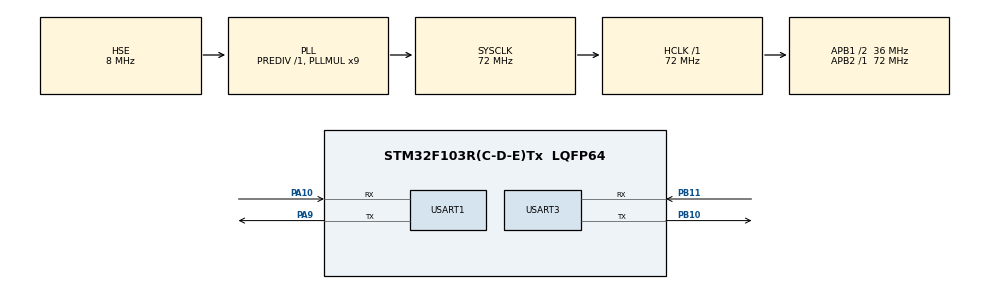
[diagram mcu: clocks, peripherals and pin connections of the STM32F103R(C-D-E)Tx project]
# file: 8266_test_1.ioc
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Dma.Request0=USART1_RX
Dma.Request1=USART1_TX
Dma.Request2=USART3_RX
Dma.Request3=USART3_TX
Dma.USART1_RX.0.Direction=DMA_PERIPH_TO_MEMORY
Dma.USART1_RX.0.Instance=DMA1_Channel5
Dma.USART1_RX.0.MemDataAlignment=DMA_MDATAALIGN_BYTE
Dma.USART1_RX.0.MemInc=DMA_MINC_ENABLE
Dma.USART1_RX.0.Mode=DMA_NORMAL
Dma.USART1_RX.0.PeriphDataAlignment=DMA_PDATAALIGN_BYTE
Dma.USART1_RX.0.PeriphInc=DMA_PINC_DISABLE
Dma.USART1_RX.0.Priority=DMA_PRIORITY_LOW
Dma.USART1_TX.1.Direction=DMA_MEMORY_TO_PERIPH
Dma.USART1_TX.1.Instance=DMA1_Channel4
Dma.USART1_TX.1.MemDataAlignment=DMA_MDATAALIGN_BYTE
Dma.USART1_TX.1.MemInc=DMA_MINC_ENABLE
Dma.USART1_TX.1.Mode=DMA_NORMAL
Dma.USART1_TX.1.PeriphDataAlignment=DMA_PDATAALIGN_BYTE
Dma.USART1_TX.1.PeriphInc=DMA_PINC_DISABLE
Dma.USART1_TX.1.Priority=DMA_PRIORITY_LOW
Dma.USART3_RX.2.Direction=DMA_PERIPH_TO_MEMORY
Dma.USART3_RX.2.Instance=DMA1_Channel3
Dma.USART3_RX.2.MemDataAlignment=DMA_MDATAALIGN_BYTE
Dma.USART3_RX.2.MemInc=DMA_MINC_ENABLE
Dma.USART3_RX.2.Mode=DMA_NORMAL
Dma.USART3_RX.2.PeriphDataAlignment=DMA_PDATAALIGN_BYTE
Dma.USART3_RX.2.PeriphInc=DMA_PINC_DISABLE
Dma.USART3_RX.2.Priority=DMA_PRIORITY_MEDIUM
Dma.USART3_TX.3.Direction=DMA_MEMORY_TO_PERIPH
Dma.USART3_TX.3.Instance=DMA1_Channel2
Dma.USART3_TX.3.MemDataAlignment=DMA_MDATAALIGN_BYTE
Dma.USART3_TX.3.MemInc=DMA_MINC_ENABLE
Dma.USART3_TX.3.Mode=DMA_NORMAL
Dma.USART3_TX.3.PeriphDataAlignment=DMA_PDATAALIGN_BYTE
Dma.USART3_TX.3.PeriphInc=DMA_PINC_DISABLE
Dma.USART3_TX.3.Priority=DMA_PRIORITY_HIGH
Mcu.Family=STM32F1
Mcu.Name=STM32F103R(C-D-E)Tx
Mcu.Package=LQFP64
NVIC.DMA1_Channel2_IRQn=true\:0\:0\:false\:false\:true\:false\:true\:true
NVIC.DMA1_Channel3_IRQn=true\:9\:0\:true\:false\:true\:false\:true\:true
NVIC.DMA1_Channel4_IRQn=true\:0\:0\:false\:false\:true\:false\:true\:true
NVIC.DMA1_Channel5_IRQn=true\:10\:0\:true\:false\:true\:false\:true\:true
NVIC.PriorityGroup=NVIC_PRIORITYGROUP_4
NVIC.USART1_IRQn=true\:0\:0\:false\:false\:true\:true\:true\:true
NVIC.USART3_IRQn=true\:0\:0\:true\:false\:true\:true\:true\:true
PA10.Mode=Asynchronous
PA10.Signal=USART1_RX
PA9.Mode=Asynchronous
PA9.Signal=USART1_TX
PB10.Mode=Asynchronous
PB10.Signal=USART3_TX
PB11.Mode=Asynchronous
PB11.Signal=USART3_RX
PC14-OSC32_IN.Mode=LSE-External-Oscillator
PC14-OSC32_IN.Signal=RCC_OSC32_IN
PC15-OSC32_OUT.Mode=LSE-External-Oscillator
PC15-OSC32_OUT.Signal=RCC_OSC32_OUT
PD0-OSC_IN.Mode=HSE-External-Oscillator
PD0-OSC_IN.Signal=RCC_OSC_IN
PD1-OSC_OUT.Mode=HSE-External-Oscillator
PD1-OSC_OUT.Signal=RCC_OSC_OUT
ProjectManager.HeapSize=0x200
ProjectManager.StackSize=0x400
ProjectManager.TargetToolchain=MDK-ARM V5.32
RCC.AHBFreq_Value=72000000
RCC.APB1CLKDivider=RCC_HCLK_DIV2
RCC.APB1Freq_Value=36000000
RCC.APB1TimFreq_Value=72000000
RCC.APB2Freq_Value=72000000
RCC.APB2TimFreq_Value=72000000
RCC.HCLKFreq_Value=72000000
RCC.PLLMUL=RCC_PLL_MUL9
RCC.PLLSourceVirtual=RCC_PLLSOURCE_HSE
RCC.SYSCLKFreq_VALUE=72000000
RCC.SYSCLKSource=RCC_SYSCLKSOURCE_PLLCLK
RCC.USBFreq_Value=72000000
USART1.VirtualMode=VM_ASYNC
USART3.VirtualMode=VM_ASYNC
VP_SYS_VS_ND.Mode=No_Debug
board=custom

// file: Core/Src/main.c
/* USER CODE BEGIN Header */
/**
  ******************************************************************************
  * @file           : main.c
  * @brief          : Main program body
  ******************************************************************************
  * @attention
  *
  * Copyright (c) 2023 STMicroelectronics.
  * All rights reserved.
  *
  * This software is licensed under terms that can be found in the LICENSE file
  * in the root directory of this software component.
  * If no LICENSE file comes with this software, it is provided AS-IS.
  *
  ******************************************************************************
  */
/* USER CODE END Header */
#include "main.h"
#include "dma.h"
#include "usart.h"
#include "gpio.h"

/* USER CODE BEGIN Includes */
#include "string.h"
#include "stdio.h"
#include "ESP8266.h"
#include "OutIn.h"
/* USER CODE END Includes */

/* USER CODE BEGIN PV */
 uint8_t PCRxbuf[LENGTH];

/* USER CODE END PV */

void SystemClock_Config(void);

/* USER CODE BEGIN 0 */
void HAL_Delay(uint32_t Delay){
	uint32_t t=Delay*3127;
	while(t--);
}

/* USER CODE END 0 */

int main(void)
{

  /* MCU Configuration--------------------------------------------------------*/

  /* Reset of all peripherals, Initializes the Flash interface and the Systick. */
  HAL_Init();

  /* Configure the system clock */
  SystemClock_Config();

  /* Initialize all configured peripherals */
  MX_GPIO_Init();
  MX_DMA_Init();
  MX_USART1_UART_Init();
  MX_USART3_UART_Init();
  /* USER CODE BEGIN 2 */
  HAL_UARTEx_ReceiveToIdle_DMA(&huart1,PCRxbuf,sizeof(PCRxbuf));
  ESP8266_Init(&huart3);
  /* USER CODE END 2 */
	linkWifi("Lzl","L123456@");
	StartCipsend("192.168.21.243","1234");
  /* Infinite loop */
  while (1)
  {

  }
}

void SystemClock_Config(void)
{
  RCC_OscInitTypeDef RCC_OscInitStruct = {0};
  RCC_ClkInitTypeDef RCC_ClkInitStruct = {0};

  /** Initializes the RCC Oscillators according to the specified parameters
  * in the RCC_OscInitTypeDef structure.
  */
  RCC_OscInitStruct.OscillatorType = RCC_OSCILLATORTYPE_HSE;
  RCC_OscInitStruct.HSEState = RCC_HSE_ON;
  RCC_OscInitStruct.HSEPredivValue = RCC_HSE_PREDIV_DIV1;
  RCC_OscInitStruct.HSIState = RCC_HSI_ON;
  RCC_OscInitStruct.PLL.PLLState = RCC_PLL_ON;
  RCC_OscInitStruct.PLL.PLLSource = RCC_PLLSOURCE_HSE;
  RCC_OscInitStruct.PLL.PLLMUL = RCC_PLL_MUL9;
  if (HAL_RCC_OscConfig(&RCC_OscInitStruct) != HAL_OK)
  {
    Error_Handler();
  }

  /** Initializes the CPU, AHB and APB buses clocks
  */
  RCC_ClkInitStruct.ClockType = RCC_CLOCKTYPE_HCLK|RCC_CLOCKTYPE_SYSCLK
                              |RCC_CLOCKTYPE_PCLK1|RCC_CLOCKTYPE_PCLK2;
  RCC_ClkInitStruct.SYSCLKSource = RCC_SYSCLKSOURCE_PLLCLK;
  RCC_ClkInitStruct.AHBCLKDivider = RCC_SYSCLK_DIV1;
  RCC_ClkInitStruct.APB1CLKDivider = RCC_HCLK_DIV2;
  RCC_ClkInitStruct.APB2CLKDivider = RCC_HCLK_DIV1;

  if (HAL_RCC_ClockConfig(&RCC_ClkInitStruct, FLASH_LATENCY_2) != HAL_OK)
  {
    Error_Handler();
  }
}

/* USER CODE BEGIN 4 */

void HAL_UARTEx_RxEventCallback(UART_HandleTypeDef *huart, uint16_t Size){

	if(huart==&huart1)
	{
//		printf("tx size : %d\n",Size);
		sendStringTo8266(PCRxbuf);
//		printf("text:%s\n",PCRxbuf);
//		printf("sizeof:%d strlen:%d\n",sizeof(PCRxbuf),strlen(PCRxbuf));
		memset(PCRxbuf,0,sizeof(PCRxbuf));
		HAL_UARTEx_ReceiveToIdle_DMA(&huart1,PCRxbuf,sizeof(PCRxbuf));
//		printf("huart1 dma open!\n");
	}
	if(huart==&huart3){
//		printf("size:%d\n",Size);
		recStringBy8266(Size);

	}

}
/* USER CODE END 4 */

void Error_Handler(void)
{
  __disable_irq();
  while (1)
  {
  }
}
